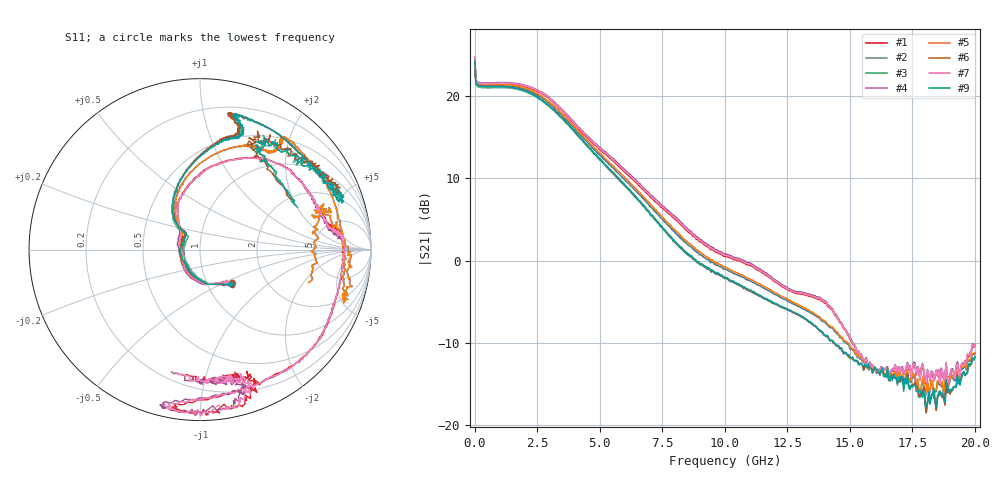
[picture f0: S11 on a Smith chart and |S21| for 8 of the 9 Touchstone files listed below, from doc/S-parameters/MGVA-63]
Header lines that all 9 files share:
!Mini-Circuits Laboratory
!S-Parameters
!Model: MGVA-63+
!Run / Lot / Date Code: NA / AH404P001-04 / 1348
!Fixture: NA; TB-561+
!AUTO PORT EXTENSION DONE: PORT<1>=113.62ps; PORT<2>=112.79ps; PORT<3>=112.29ps; PORT<4>=112.3ps
!Network Analyzer: PNA-X N5242A - 423 4 ports;  Serial number: 71256
!Date: 2/10/20114
!S/N: Unit# 1
!Correction: S11(Full 4 Port(1,2,3,4))
!S12(Full 4 Port(1,2,3,4))
!S13(Full 4 Port(1,2,3,4))
!S14(Full 4 Port(1,2,3,4))
!S21(Full 4 Port(1,2,3,4))
!S22(Full 4 Port(1,2,3,4))
!S23(Full 4 Port(1,2,3,4))
!S24(Full 4 Port(1,2,3,4))
!S31(Full 4 Port(1,2,3,4))
!S32(Full 4 Port(1,2,3,4))
!S33(Full 4 Port(1,2,3,4))
!S34(Full 4 Port(1,2,3,4))
!S41(Full 4 Port(1,2,3,4))
!S42(Full 4 Port(1,2,3,4))
!S43(Full 4 Port(1,2,3,4))
!S44(Full 4 Port(1,2,3,4))
!S4P File: Measurements: <S11,S12,S13,S14>,
!<S21,S22,S23,S24>,
!<S31,S32,S33,S34>,
!<S41,S42,S43,S44>:
# Hz S  dB  R 50
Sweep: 10 MHz to 20 GHz
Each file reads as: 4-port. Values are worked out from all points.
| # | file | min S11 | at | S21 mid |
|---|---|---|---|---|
| 1 | MGVA-63+_4.75V_Minus45DegC_Unit1.s4p | -20.5 dB | 160 MHz | 8.5 dB at 6.775 GHz |
| 2 | MGVA-63+_4.75V_Plus25DegC_Unit1.s4p | -20.5 dB | 210 MHz | 7.4 dB at 6.775 GHz |
| 3 | MGVA-63+_4.75V_Plus85DegC_Unit1.s4p | -20.9 dB | 380 MHz | 6.5 dB at 6.775 GHz |
| 4 | MGVA-63+_5.25V_Minus45DegC_Unit1.s4p | -18.8 dB | 160 MHz | 8.8 dB at 6.775 GHz |
| 5 | MGVA-63+_5.25V_Plus25DegC_Unit1.s4p | -18.6 dB | 270 MHz | 7.7 dB at 6.775 GHz |
| 6 | MGVA-63+_5.25V_Plus85DegC_Unit1.s4p | -18.9 dB | 380 MHz | 6.6 dB at 6.775 GHz |
| 7 | MGVA-63+_5V_Minus45DegC_Unit1.s4p | -19.5 dB | 160 MHz | 8.7 dB at 6.775 GHz |
| 8 | MGVA-63+_5V_Plus25DegC_Unit1.s4p | -19.3 dB | 270 MHz | 7.6 dB at 6.775 GHz |
| 9 | MGVA-63+_5V_Plus85DegC_Unit1.s4p | -19.5 dB | 380 MHz | 6.7 dB at 6.775 GHz |
